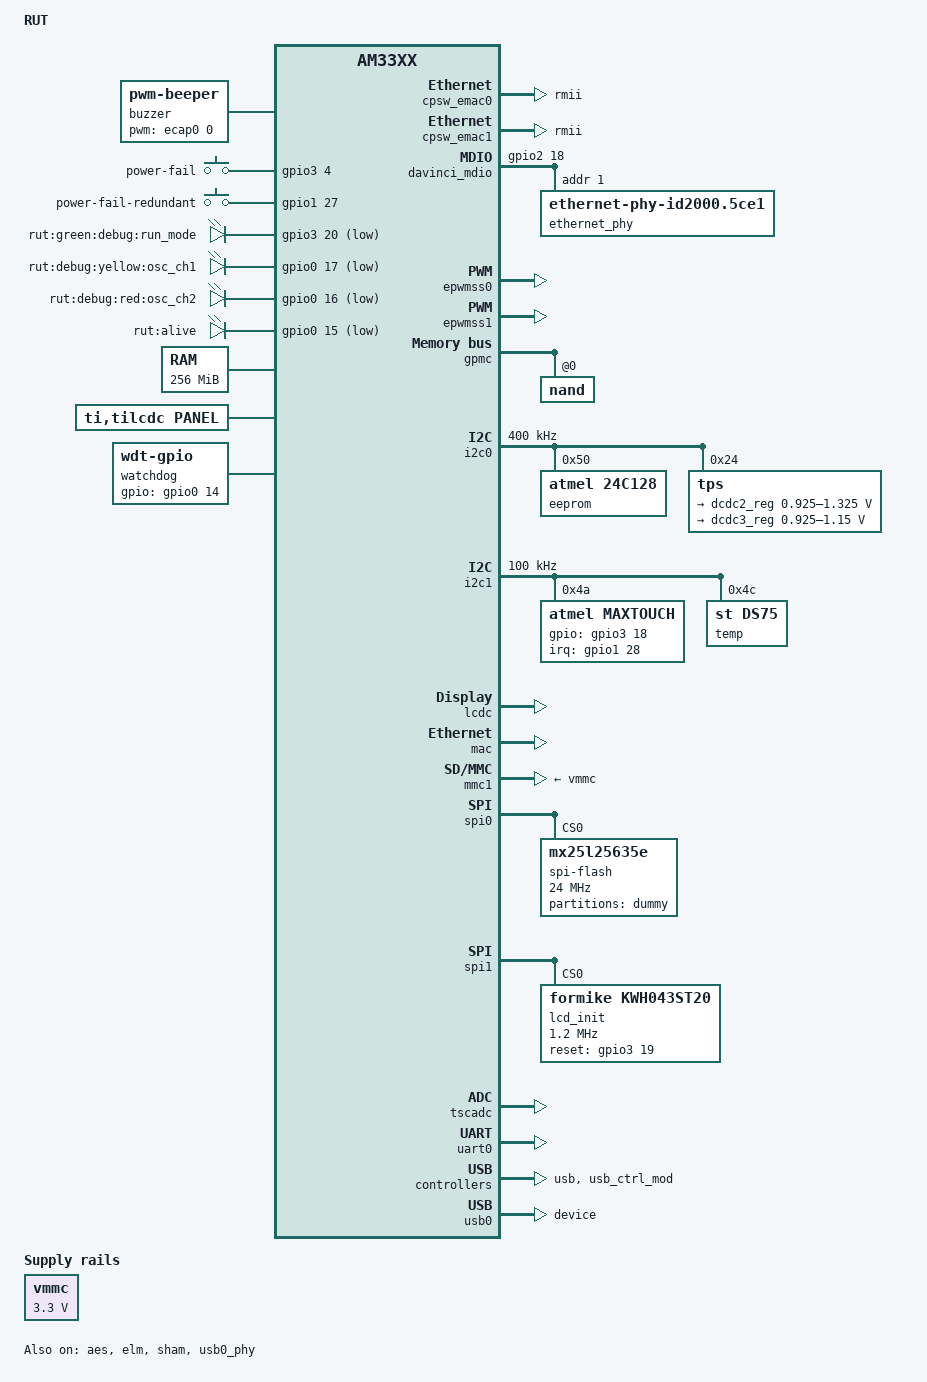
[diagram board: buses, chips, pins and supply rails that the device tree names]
/*
 * Copyright (C) 2014 DENX Software Engineering GmbH
 * Heiko Schocher <hs@denx.de>
 *
 * Based on:
 * Copyright (C) 2012 Texas Instruments Incorporated - http://www.ti.com/
 *
 * This program is free software; you can redistribute it and/or modify
 * it under the terms of the GNU General Public License version 2 as
 * published by the Free Software Foundation.
 */
/dts-v1/;

#include "am33xx.dtsi"
#include <dt-bindings/input/input.h>

/ {
	model = "RUT";
	compatible = "ti,am335x-evm", "ti,am33xx";

	buzzer {
		compatible = "pwm-beeper";
		pwms = <&ecap0 0 16000 0>;
	};

	chosen {
		stdout-path = &uart0;
		tick-timer = &timer2;
	};

	cpus {
		cpu@0 {
			cpu0-supply = <&dcdc2_reg>;
		};
	};

	gpio_keys: powerfail-keys {
		compatible = "gpio-keys";
		autorepeat;

		pwr-fail0 {
			label = "power-fail";
			linux,code = <KEY_POWER>;
			gpios = <&gpio3 4 GPIO_ACTIVE_HIGH>;
			gpio-key,wakeup;
		};

		pwr-fail1 {
			label = "power-fail-redundant";
			linux,code = <KEY_POWER>;
			gpios = <&gpio1 27 GPIO_ACTIVE_HIGH>;
			gpio-key,wakeup;
		};
	};

	leds {
		compatible = "gpio-leds";

		led_green {
			label = "rut:green:debug:run_mode";
			gpios = <&gpio3 20 1>;
			/* activelow = 1, default trigger heartbeat */
		};
		led_yellow {
			label = "rut:debug:yellow:osc_ch1";
			gpios = <&gpio0 17 1>;
			/* activelow = 1, default trigger mmc0 */
		};
		led_red {
			label = "rut:debug:red:osc_ch2";
			gpios = <&gpio0 16 1>;
			/* activelow = 1, default trigger debug_osc_ch2 */
		};
		/* optional */
		led_alive {
			label = "rut:alive";
			gpios = <&gpio0 15 1>;
			linux,default-trigger = "heartbeat";
			/* activelow = 1, default trigger heartbeat */
		};

	};

	memory {
		device_type = "memory";
		reg = <0x80000000 0x10000000>; /* 256 MB */
	};

	panel {
		compatible = "ti,tilcdc,panel";
		pinctrl-names = "default";
		pinctrl-0 = <&lcd_pins_s0>;
		status = "okay";

		/* FORMIKE_KWH043ST20_F01 */
		panel-info {
			ac-bias           = <255>;
			ac-bias-intrpt    = <0>;
			dma-burst-sz      = <16>;
			bpp               = <16>;
			fdd               = <0x80>;
			sync-edge         = <0>;
			sync-ctrl         = <1>;
			raster-order      = <0>;
			fifo-th           = <0>;
			tft-alt-mode      = <0>;
			invert-pxl-clk    = <1>;
		};

		display-timings {
			native-mode = <&timing1>;
			timing1: 480x800p60 {
				clock-frequency = <29925000>;
				hactive = <480>;
				vactive = <800>;
				hfront-porch = <50>;
				hback-porch = <50>;
				hsync-len = <50>;
				vback-porch = <50>;
				vfront-porch = <50>;
				vsync-len = <50>;
				hsync-active = <1>;
				vsync-active = <1>;
			};
		};
	};

	vmmc: fixedregulator3 {
		compatible = "regulator-fixed";
		regulator-name = "vmmc";
		regulator-min-microvolt = <3300000>;
		regulator-max-microvolt = <3300000>;
	};

	watchdog {
		compatible = "linux,wdt-gpio";
		gpios = <&gpio0 14 0>;
		hw_algo = "level";
		hw_margin_ms = <30000>;
	};
};

&aes {
	status = "okay";
};

&cppi41dma  {
	status = "okay";
};

&cpsw_emac0 {
	phy_id = <&davinci_mdio>, <1>;
	phy-mode = "rmii";
};

&cpsw_emac1 {
	phy_id = <&davinci_mdio>, <0>;
	phy-mode = "rmii";
};

&davinci_mdio {
	pinctrl-names = "default", "sleep";
	pinctrl-0 = <&davinci_mdio_default>;
	pinctrl-1 = <&davinci_mdio_sleep>;
	status = "okay";
	gpios = <&gpio2 18 0>;

        ethernet_phy: ethernet-phy@1 {
                compatible = "ethernet-phy-id2000.5ce1";
                reg = <1>;
		natsemi,master_mode_fixup;
        };
};

&elm {
	status = "okay";
};

&epwmss0 {
	status = "okay";

	ecap0: ecap@48300100 {
		status = "okay";
		pinctrl-names = "default";
		pinctrl-0 = <&ecap0_pins>;
	};
};

&epwmss1 {
	status = "okay";
	pinctrl-names = "default";
	pinctrl-0 = <&epwmss1_pins>;
};

&gpmc {
	pinctrl-names = "default";
	pinctrl-0 = <&nandflash_pins>;
	status = "okay";

	ranges = <0 0 0x08000000 0x10000000>;	/* CS0: NAND */

	nand@0,0 {
		reg = <0 0 0>; /* CS0, offset 0 */
		nand-bus-width = <8>;
		ti,nand-ecc-opt = "bch8";
		gpmc,device-nand = "true";
		gpmc,device-width = <1>;
		gpmc,sync-clk-ps = <0>;
		gpmc,cs-on-ns = <0>;
		gpmc,cs-rd-off-ns = <57>;
		gpmc,cs-wr-off-ns = <57>;
		gpmc,adv-on-ns = <0>;
		gpmc,adv-rd-off-ns = <57>;
		gpmc,adv-wr-off-ns = <57>;
		gpmc,we-on-ns = <0>;
		gpmc,we-off-ns = <48>;
		gpmc,oe-on-ns = <0>;
		gpmc,oe-off-ns = <57>;
		gpmc,access-ns = <38>;
		gpmc,rd-cycle-ns = <67>;
		gpmc,wr-cycle-ns = <67>;
		gpmc,wait-on-read = "true";
		gpmc,wait-on-write = "true";
		gpmc,bus-turnaround-ns = <0>;
		gpmc,cycle2cycle-delay-ns = <0>;
		gpmc,clk-activation-ns = <0>;
		gpmc,wait-monitoring-ns = <0>;
		gpmc,wr-access-ns = <96>;
		gpmc,wr-data-mux-bus-ns = <0>;

		#address-cells = <1>;
		#size-cells = <1>;
		elm_id = <&elm>;
	};
};

&i2c0 {
	pinctrl-names = "default";
	pinctrl-0 = <&i2c0_pins>;
	clock-frequency = <400000>;
	status = "okay";

	eeprom: eeprom@50 {
		compatible = "atmel,24c128";
		reg = <0x50>;
		pagesize = <32>;
	};

	tps: tps@24 {
		reg = <0x24>;
	};
};

&i2c1 {
	pinctrl-names = "default";
	pinctrl-0 = <&i2c1_pins>;
	clock-frequency = <100000>;
	status = "okay";

	atmel: atmel_mxt_ts@4a {
		compatible = "atmel,maxtouch";
		reg = <0x4a>;
		interrupt-parent = <&gpio1>;
		interrupts = <28 8>;
		gpios = <&gpio3 18 GPIO_ACTIVE_HIGH>;
	};

	temp@48 {
		compatible = "st,ds75";
		reg = <0x4c>;
	};
};

&lcdc {
	status = "okay";
};

&mac {
	pinctrl-names = "default", "sleep";
	pinctrl-0 = <&cpsw_default>;
	pinctrl-1 = <&cpsw_sleep>;
	status = "okay";
};

&mmc1 {
	vmmc-supply = <&vmmc>;
	pinctrl-names = "default";
	pinctrl-0 = <&mmc1_pins>;
	status = "okay";
};

&phy_sel {
	rmii-clock-ext;
};

&sham {
	status = "okay";
};

&spi0 {
	pinctrl-names = "default";
	pinctrl-0 = <&spi0_pins>;
	status = "okay";
	spi-flash@0 {
		#address-cells = <1>;
		#size-cells = <1>;
		compatible = "mx25l25635e";
		reg = <0>; /* Chip select 0 */
		spi-max-frequency = <24000000>;

		partition@0 {
			label = "dummy";
			reg = <0x0000000 0x8000>;
		};
	};
};

&spi1 {
	pinctrl-names = "default";
	pinctrl-0 = <&spi1_pins>;
	status = "okay";

	lcd_init: lcd@0 {
		compatible = "formike,kwh043st20";
		reg = <0>;
		reset-gpios = <&gpio3 19 0>;
		spi-max-frequency = <1200000>;
		spi-cpol;
		spi-cpha;
		power-on-delay = <10>;
		reset-delay = <10>;
	};
};

/include/ "tps65217.dtsi"

&tps {
	backlight0: backlight {
		isel = <1>;  /* 1 - ISET1, 2 ISET2 */
		fdim = <1000>; /* TPS65217_BL_FDIM_100HZ */
		default-brightness = <80>;
	};

	regulators {
		dcdc1_reg: regulator@0 {
			regulator-always-on;
		};

		dcdc2_reg: regulator@1 {
			/* VDD_MPU voltage limits 0.95V - 1.26V with +/-4% tolerance */
			regulator-name = "vdd_mpu";
			regulator-min-microvolt = <925000>;
			regulator-max-microvolt = <1325000>;
			regulator-boot-on;
			regulator-always-on;
		};

		dcdc3_reg: regulator@2 {
			/* VDD_CORE voltage limits 0.95V - 1.1V with +/-4% tolerance */
			regulator-name = "vdd_core";
			regulator-min-microvolt = <925000>;
			regulator-max-microvolt = <1150000>;
			regulator-boot-on;
			regulator-always-on;
		};

		ldo1_reg: regulator@3 {
			regulator-always-on;
		};

		ldo2_reg: regulator@4 {
			regulator-always-on;
		};

		ldo3_reg: regulator@5 {
			regulator-always-on;
		};

		ldo4_reg: regulator@6 {
			regulator-always-on;
		};
	};
};

&tscadc {
	status = "okay";
	adc {
		ti,adc-channels = <4 5 6 7>;
	};
};

&uart0 {
	pinctrl-names = "default";
	pinctrl-0 = <&uart0_pins>;

	status = "okay";
};

&usb {
	status = "okay";
};

&usb_ctrl_mod {
	status = "okay";
};

&usb0 {
	dr_mode = "device";
	status = "okay";
};

&usb0_phy {
	status = "okay";
};

&am33xx_pinmux {
	pinctrl-names = "default";
	pinctrl-0 = <&clkout2_pin &gpio_pin>;

	clkout2_pin: pinmux_clkout2_pin {
		pinctrl-single,pins = <
			0x1b4 (PIN_OUTPUT_PULLDOWN | MUX_MODE3)	/* xdma_event_intr1.clkout2 */
		>;
	};

	cpsw_default: cpsw_default {
		pinctrl-single,pins = <
			/* Slave 1 */
			0x10c (PIN_INPUT_PULLDOWN | MUX_MODE1) /* mii1_crs.rmii1_crs_dv */
			0x110 (PIN_INPUT_PULLDOWN | MUX_MODE1) /* mii1_rxerr.mii1_rxerr */
			0x114 (MUX_MODE1)	/* mii1_txen.mii1_txen */
			0x124 (MUX_MODE1)	/* mii1_txd1.mii1_txd1 */
			0x128 (MUX_MODE1)	/* mii1_txd0.mii1_txd0 */
			0x13c (PIN_INPUT_PULLDOWN | MUX_MODE1)	/* mii1_rxd1.mii1_rxd1 */
			0x140 (PIN_INPUT_PULLDOWN | MUX_MODE1)	/* mii1_rxd0.mii1_rxd0 */
			0x144 (PIN_INPUT_PULLDOWN | MUX_MODE0) /* rmii1_ref_clk.rmii1_refclk */
		>;
	};

	cpsw_sleep: cpsw_sleep {
		pinctrl-single,pins = <
			/* Slave 1 reset value */
			0x10c (PIN_INPUT_PULLDOWN | MUX_MODE7)
			0x110 (PIN_INPUT_PULLDOWN | MUX_MODE7)
			0x114 (PIN_INPUT_PULLDOWN | MUX_MODE7)
			0x124 (PIN_INPUT_PULLDOWN | MUX_MODE7)
			0x128 (PIN_INPUT_PULLDOWN | MUX_MODE7)
			0x13c (PIN_INPUT_PULLDOWN | MUX_MODE7)
			0x140 (PIN_INPUT_PULLDOWN | MUX_MODE7)
			0x144 (PIN_INPUT_PULLDOWN | MUX_MODE7)
		>;
	};

	davinci_mdio_default: davinci_mdio_default {
		pinctrl-single,pins = <
			/* MDIO */
			0x148 (PIN_INPUT_PULLUP | SLEWCTRL_FAST | MUX_MODE0)	/* mdio_data.mdio_data */
			0x14c (PIN_OUTPUT_PULLUP | MUX_MODE0)			/* mdio_clk.mdio_clk */
		>;
	};

	davinci_mdio_sleep: davinci_mdio_sleep {
		pinctrl-single,pins = <
			/* MDIO reset value */
			0x148 (PIN_INPUT_PULLDOWN | MUX_MODE7)
			0x14c (PIN_INPUT_PULLDOWN | MUX_MODE7)
		>;
	};

	ecap0_pins: ecap_pins {
		pinctrl-single,pins = <
			0x164 (MUX_MODE0)	/* eCAP0_in_PWM0_out.eCAP0_in_PWM0_out MODE0 buzzer frequency: ecap.0 */
		>;
	};

	epwmss1_pins: epwmss_pins {
		pinctrl-single,pins = <
			0x48 (PIN_INPUT | MUX_MODE7)	/* gpmc_a2.gpio1_18 buzzer frequency: ehrpwm1A high-Z due to connected to ecap0 by R0469 */
			0x4c (MUX_MODE6)	/* gpmc_a3.ehrpwm1B buzzer volume pwm */
		>;
	};

	gpio_pin: gpio_pin {
		pinctrl-single,pins = <
			0x6c (PIN_INPUT | MUX_MODE7)		/* gpmc_a11.gpio1_27 PWR_FAIL_GPIO_SPARE */
			0x78 (PIN_OUTPUT_PULLUP | INPUT_EN | MUX_MODE7)	/* gpmc_be1n.gpio1_28 TOUCH_CHANGE_N */
			0x88 (PIN_OUTPUT_PULLUP | INPUT_EN | MUX_MODE7)		/* gpmc_csn3.gpio2_0 RUT_GPIO0_GPIO */
			0x118 (PIN_INPUT | MUX_MODE7)		/* gmii1_rxdv.gpio3_4 PWR_FAIL_GPIO */
			0x11c (MUX_MODE7)			/* mii1_txd3.gpio0_16 DEBUG_OSC_CH2_GPIO */
			0x120 (MUX_MODE7)			/* mii1_txd2.gpio0_17 DEBUG_OSC_CH1_GPIO */
			0x134 (MUX_MODE7)			/* gmii1_rxd3.gpio2_18 PHY_RSTn_GPIO */
			0x138 (PIN_INPUT_PULLDOWN | MUX_MODE7)	/* gmii1_rxd2.gpio2_19 PHY_INT_GPIO */
			0x180 (MUX_MODE7)			/* uart1_rxd.gpio0_14 WATCHDOG_TRIGGER_GPIO */
			0x184 (MUX_MODE7)			/* uart1_txd.gpio0_15 ALIVE_LED_N_GPIO */
			0x1a0 (MUX_MODE7)			/* mcasp0_aclkr.gpio3_18 MAXTOUCH_RESET_GPIO */
			0x1a4 (MUX_MODE7)			/* mcasp0_fsr.gpio3_19 DISPLAY_RESET_GPIO */
			0x1a8 (MUX_MODE7)			/* mcasp0_axr1.gpio3_20 DEBUG_RUN_MODE_GPIO */
			0x1ac (PIN_INPUT_PULLDOWN | MUX_MODE7)	/* mcasp0_ahclkx.gpio3_21 NORFLASH_WP_GPIO */
			0x1b0 (PIN_OUTPUT | MUX_MODE3)		/* xdma_event_intr0.clkout1 */
		>;
	};

	i2c0_pins: pinmux_i2c0_pins {
		pinctrl-single,pins = <
			0x188 (PIN_INPUT_PULLUP | MUX_MODE0)	/* i2c0_sda.i2c0_sda */
			0x18c (PIN_INPUT_PULLUP | MUX_MODE0)	/* i2c0_scl.i2c0_scl */
		>;
	};

	i2c1_pins: pinmux_i2c1_pins {
		pinctrl-single,pins = <
			0x168 (PIN_INPUT | MUX_MODE3)	/* uart0_ctsn.i2c1_sda */
			0x16c (PIN_INPUT | MUX_MODE3)	/* uart0.rtsn.i2c1_scl */
		>;
	};

	lcd_pins_s0: lcd_pins_s0 {
		pinctrl-single,pins = <
			0x20 (PIN_OUTPUT_PULLDOWN | MUX_MODE1)	/* gpmc_ad8.lcd_data23 */
			0x24 (PIN_OUTPUT_PULLDOWN | MUX_MODE1)	/* gpmc_ad9.lcd_data22 */
			0x28 (PIN_OUTPUT_PULLDOWN | MUX_MODE1)	/* gpmc_ad10.lcd_data21 */
			0x2c (PIN_OUTPUT_PULLDOWN | MUX_MODE1)	/* gpmc_ad11.lcd_data20 */
			0x30 (PIN_OUTPUT_PULLDOWN | MUX_MODE1)	/* gpmc_ad12.lcd_data19 */
			0x34 (PIN_OUTPUT_PULLDOWN | MUX_MODE1)	/* gpmc_ad13.lcd_data18 */
			0x38 (PIN_OUTPUT_PULLDOWN | MUX_MODE1)	/* gpmc_ad14.lcd_data17 */
			0x3c (PIN_OUTPUT_PULLDOWN | MUX_MODE1)	/* gpmc_ad15.lcd_data16 */
			0xa0 (PIN_OUTPUT | MUX_MODE0)		/* lcd_data0.lcd_data0 */
			0xa4 (PIN_OUTPUT | MUX_MODE0)		/* lcd_data1.lcd_data1 */
			0xa8 (PIN_OUTPUT | MUX_MODE0)		/* lcd_data2.lcd_data2 */
			0xac (PIN_OUTPUT | MUX_MODE0)		/* lcd_data3.lcd_data3 */
			0xb0 (PIN_OUTPUT | MUX_MODE0)		/* lcd_data4.lcd_data4 */
			0xb4 (PIN_OUTPUT | MUX_MODE0)		/* lcd_data5.lcd_data5 */
			0xb8 (PIN_OUTPUT | MUX_MODE0)		/* lcd_data6.lcd_data6 */
			0xbc (PIN_OUTPUT | MUX_MODE0)		/* lcd_data7.lcd_data7 */
			0xc0 (PIN_OUTPUT | MUX_MODE0)		/* lcd_data8.lcd_data8 */
			0xc4 (PIN_OUTPUT | MUX_MODE0)		/* lcd_data9.lcd_data9 */
			0xc8 (PIN_OUTPUT | MUX_MODE0)		/* lcd_data10.lcd_data10 */
			0xcc (PIN_OUTPUT | MUX_MODE0)		/* lcd_data11.lcd_data11 */
			0xd0 (PIN_OUTPUT | MUX_MODE0)		/* lcd_data12.lcd_data12 */
			0xd4 (PIN_OUTPUT | MUX_MODE0)		/* lcd_data13.lcd_data13 */
			0xd8 (PIN_OUTPUT | MUX_MODE0)		/* lcd_data14.lcd_data14 */
			0xdc (PIN_OUTPUT | MUX_MODE0)		/* lcd_data15.lcd_data15 */
			0xe0 (PIN_OUTPUT_PULLDOWN | MUX_MODE0)	/* lcd_vsync.lcd_vsync */
			0xe4 (PIN_OUTPUT_PULLDOWN | MUX_MODE0)	/* lcd_hsync.lcd_hsync */
			0xe8 (PIN_OUTPUT_PULLDOWN | MUX_MODE0)	/* lcd_pclk.lcd_pclk */
			0xec (PIN_OUTPUT_PULLDOWN | MUX_MODE0)	/* lcd_ac_bias_en.lcd_ac_bias_en */
		>;
	};

	mmc1_pins: mmc1_pins {
		pinctrl-single,pins = <
			0xf0 (PIN_INPUT_PULLUP | MUX_MODE0)	/* mmc0_dat0.mmc0_dat0 */
			0xf4 (PIN_INPUT_PULLUP | MUX_MODE0)	/* mmc0_dat1.mmc0_dat1 */
			0xf8 (PIN_INPUT_PULLUP | MUX_MODE0)	/* mmc0_dat2.mmc0_dat2 */
			0xfc (PIN_INPUT_PULLUP | MUX_MODE0)	/* mmc0_dat3.mmc0_dat3 */
			0x100 (PIN_INPUT_PULLUP | MUX_MODE0)	/* mmc0_clk.mmc0_clk */
			0x104 (PIN_INPUT_PULLUP | MUX_MODE0)	/* mmc0_cmd.mmc0_cmd */
		>;
	};

	nandflash_pins: pinmux_nandflash_pins {
		pinctrl-single,pins = <
			0x0 (PIN_INPUT_PULLUP | MUX_MODE0)	/* gpmc_ad0.gpmc_ad0 */
			0x4 (PIN_INPUT_PULLUP | MUX_MODE0)	/* gpmc_ad1.gpmc_ad1 */
			0x8 (PIN_INPUT_PULLUP | MUX_MODE0)	/* gpmc_ad2.gpmc_ad2 */
			0xc (PIN_INPUT_PULLUP | MUX_MODE0)	/* gpmc_ad3.gpmc_ad3 */
			0x10 (PIN_INPUT_PULLUP | MUX_MODE0)	/* gpmc_ad4.gpmc_ad4 */
			0x14 (PIN_INPUT_PULLUP | MUX_MODE0)	/* gpmc_ad5.gpmc_ad5 */
			0x18 (PIN_INPUT_PULLUP | MUX_MODE0)	/* gpmc_ad6.gpmc_ad6 */
			0x1c (PIN_INPUT_PULLUP | MUX_MODE0)	/* gpmc_ad7.gpmc_ad7 */
			0x70 (PIN_INPUT_PULLUP | MUX_MODE0)	/* gpmc_wait0.gpmc_wait0 */
			0x74 (PIN_INPUT_PULLUP | MUX_MODE7)	/* gpmc_wpn.gpio0_30 */
			0x7c (PIN_OUTPUT | MUX_MODE0)		/* gpmc_csn0.gpmc_csn0 */
			0x90 (PIN_OUTPUT | MUX_MODE0)		/* gpmc_advn_ale.gpmc_advn_ale */
			0x94 (PIN_OUTPUT | MUX_MODE0)		/* gpmc_oen_ren.gpmc_oen_ren */
			0x98 (PIN_OUTPUT | MUX_MODE0)		/* gpmc_wen.gpmc_wen */
			0x9c (PIN_OUTPUT | MUX_MODE0)		/* gpmc_be0n_cle.gpmc_be0n_cle */
		>;
	};

	spi0_pins: pinmux_spi0_pins {
		pinctrl-single,pins = <
			0x150 (PIN_INPUT_PULLDOWN | MUX_MODE0)	/* spi0_sclk.spi0_sclk */
			0x154 (PIN_INPUT_PULLUP | MUX_MODE0)	/* spi0_d0.spi0_d0 */
			0x158 (PIN_INPUT_PULLDOWN | MUX_MODE0)	/* spi0_d1.spi0_d1 */
			0x15c (PIN_INPUT_PULLUP | MUX_MODE0)	/* spi0_CS0.spi0_CS0 */
		>;
	};

	spi1_pins: pinmux_spi1_pins {
		pinctrl-single,pins = <
			0x190 (PIN_INPUT_PULLDOWN | MUX_MODE3)	/* mcasp0_aclkx.spi1_sclk */
			0x194 (PIN_INPUT_PULLUP | MUX_MODE3)	/* mcasp0_fsx.spi1_d0 */
			0x198 (PIN_INPUT_PULLDOWN | MUX_MODE3)	/* mcasp0_axr0.spi1_d1 */
			0x19c (PIN_INPUT_PULLUP | MUX_MODE3)	/* mcasp0_ahclkr.spi1_cs0 */
		>;
	};

	uart0_pins: pinmux_uart0_pins {
		pinctrl-single,pins = <
			0x170 (PIN_INPUT | MUX_MODE0)	/* uart0_rxd.uart0_rxd */
			0x174 (PIN_OUTPUT | MUX_MODE0)	/* uart0_txd.uart0_txd */
		>;
	};
};
